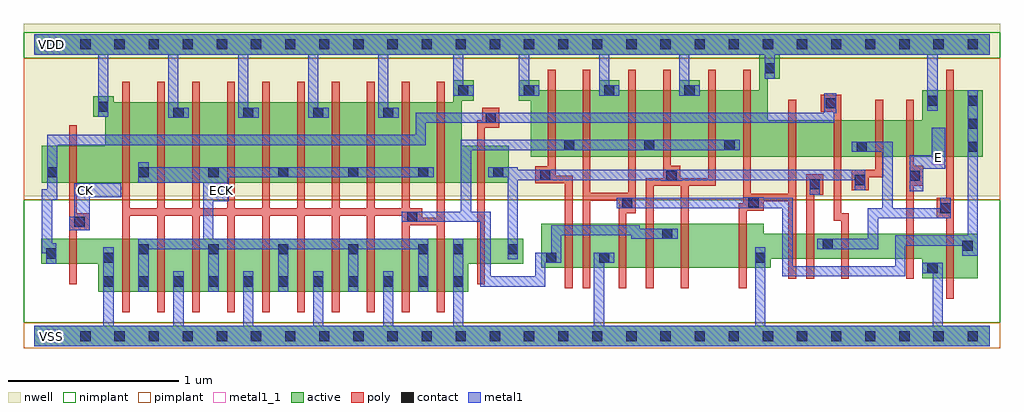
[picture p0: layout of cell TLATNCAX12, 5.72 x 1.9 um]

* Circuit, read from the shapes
.subckt TLATNCAX12 CK E ECK VDD VSS
M1 VSS CK n1 VSS nfet w=0.145u l=0.045u
M2 ECK n2 VSS VSS nfet w=0.31u l=0.045u m=10
M3 n3 n1 VSS VSS nfet w=0.145u l=0.045u
M4 n4 n3 n2 VSS nfet w=0.26u l=0.045u
M5 VSS n5 n4 VSS nfet w=0.26u l=0.045u
M6 n6 n5 VSS VSS nfet w=0.26u l=0.045u
M7 n2 n3 n6 VSS nfet w=0.26u l=0.045u
M8 n7 n3 n2 VSS nfet w=0.26u l=0.045u
M9 VSS n5 n7 VSS nfet w=0.26u l=0.045u
M10 n8 n5 VSS VSS nfet w=0.145u l=0.045u
M11 n9 n3 n8 VSS nfet w=0.145u l=0.045u
M12 n10 n1 n9 VSS nfet w=0.145u l=0.045u
M13 VSS E n10 VSS nfet w=0.145u l=0.045u
M14 n5 n9 VSS VSS nfet w=0.26u l=0.045u
M15 VDD CK n1 VDD pfet w=0.215u l=0.045u
M16 ECK n2 VDD VDD pfet w=0.47u l=0.045u m=10
M17 n3 n1 VDD VDD pfet w=0.215u l=0.045u
M18 n2 n3 VDD VDD pfet w=0.39u l=0.045u m=3
M19 VDD n5 n2 VDD pfet w=0.39u l=0.045u m=3
M20 n11 n5 VDD VDD pfet w=0.215u l=0.045u
M21 n9 n1 n11 VDD pfet w=0.215u l=0.045u
M22 n12 n3 n9 VDD pfet w=0.215u l=0.045u
M23 VDD E n12 VDD pfet w=0.215u l=0.045u
M24 n5 n9 VDD VDD pfet w=0.39u l=0.045u
.ends

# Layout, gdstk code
import gdstk
lib = gdstk.Library(unit=1e-6, precision=5e-10)
def R(c, l, rs):  # rectangles x0, y0, x1, y1
    for r in rs: c.add(gdstk.rectangle(r[:2], r[2:], *l))
def A(c, l, x, y, w, h, nx, ny, dx, dy):  # array of equal rectangles
    R(c, l, [(x+i*dx, y+j*dy, x+i*dx+w, y+j*dy+h) for i in range(nx) for j in range(ny)])
def P(c, l, *ps):  # polygons
    for p in ps: c.add(gdstk.Polygon(p, *l))
active = (1, 0)
nwell = (2, 0)
poly = (3, 0)
nimplant = (4, 0)
pimplant = (5, 0)
contact = (6, 0)
metal1 = (7, 0)
metal1_1 = (7, 1)

tlatncax12 = lib.new_cell('TLATNCAX12')
R(tlatncax12, active, [(0,-0.06,5.6,0.06)])
P(tlatncax12, active, [(0,1.77),(5.6,1.77),(5.6,1.65),(4.37,1.65),(4.37,1.51),(4.3,1.51),(4.3,1.265),(5.205,1.265),(5.205,1.44),(5.56,1.44),(5.56,1.05),(2.91,1.05),(2.91,1.38),(2.84,1.38),(2.84,1.5),(2.96,1.5),(2.96,1.44),(3.31,1.44),(3.31,1.5),(3.43,1.5),(3.43,1.44),(3.78,1.44),(3.78,1.5),(3.9,1.5),(3.9,1.44),(4.25,1.44),(4.25,1.65),(0,1.65)],
  [(0.345,1.405),(0.465,1.405),(0.465,1.37),(2.455,1.37),(2.455,1.5),(2.575,1.5),(2.575,1.38),(2.505,1.38),(2.505,1.115),(2.78,1.115),(2.78,0.9),(0.045,0.9),(0.045,1.115),(0.415,1.115),(0.415,1.285),(0.345,1.285)],
  [(0.04,0.57),(2.865,0.57),(2.865,0.425),(2.545,0.425),(2.545,0.26),(0.375,0.26),(0.375,0.425),(0.04,0.425)],
  [(2.97,0.66),(4.275,0.66),(4.275,0.6),(5.53,0.6),(5.53,0.34),(5.205,0.34),(5.205,0.455),(4.315,0.455),(4.315,0.4),(2.97,0.4)])
R(tlatncax12, nwell, [(-0.06,0.82,5.66,1.83)])
P(tlatncax12, poly, [(0.515,1.49),(0.56,1.49),(0.56,0.75),(0.72,0.75),(0.72,1.49),(0.765,1.49),(0.765,0.75),(0.925,0.75),(0.925,1.49),(0.97,1.49),(0.97,0.75),(1.13,0.75),(1.13,1.49),(1.175,1.49),(1.175,0.75),(1.335,0.75),(1.335,1.49),(1.38,1.49),(1.38,0.75),(1.54,0.75),(1.54,1.49),(1.585,1.49),(1.585,0.75),(1.745,0.75),(1.745,1.49),(1.79,1.49),(1.79,0.75),(1.95,0.75),(1.95,1.49),(1.995,1.49),(1.995,0.75),(2.155,0.75),(2.155,1.49),(2.2,1.49),(2.2,0.75),(2.275,0.75),(2.275,0.695),(2.36,0.695),(2.36,1.49),(2.405,1.49),(2.405,0.14),(2.36,0.14),(2.36,0.65),(2.2,0.65),(2.2,0.14),(2.155,0.14),(2.155,0.705),(1.995,0.705),(1.995,0.14),(1.95,0.14),(1.95,0.705),(1.79,0.705),(1.79,0.14),(1.745,0.14),(1.745,0.705),(1.585,0.705),(1.585,0.14),(1.54,0.14),(1.54,0.705),(1.38,0.705),(1.38,0.14),(1.335,0.14),(1.335,0.705),(1.175,0.705),(1.175,0.14),(1.13,0.14),(1.13,0.705),(0.97,0.705),(0.97,0.14),(0.925,0.14),(0.925,0.705),(0.765,0.705),(0.765,0.14),(0.72,0.14),(0.72,0.705),(0.56,0.705),(0.56,0.14),(0.515,0.14)],
  [(0.205,1.235),(0.25,1.235),(0.25,0.72),(0.325,0.72),(0.325,0.62),(0.25,0.62),(0.25,0.305),(0.205,0.305)],
  [(3.01,1.56),(3.055,1.56),(3.055,0.94),(3.155,0.94),(3.155,0.28),(3.11,0.28),(3.11,0.895),(2.935,0.895),(2.935,0.995),(3.01,0.995)],
  [(3.215,1.56),(3.26,1.56),(3.26,0.84),(3.48,0.84),(3.48,1.56),(3.525,1.56),(3.525,0.72),(3.47,0.72),(3.47,0.28),(3.425,0.28),(3.425,0.795),(3.26,0.795),(3.26,0.28),(3.215,0.28)],
  [(2.625,1.34),(2.725,1.34),(2.725,1.22),(2.64,1.22),(2.64,0.305),(2.595,0.305),(2.595,1.265),(2.625,1.265)],
  [(3.685,1.56),(3.73,1.56),(3.73,1),(3.785,1),(3.785,0.925),(3.95,0.925),(3.95,1.56),(3.995,1.56),(3.995,0.88),(3.835,0.88),(3.835,0.28),(3.79,0.28),(3.79,0.88),(3.63,0.88),(3.63,0.28),(3.585,0.28),(3.585,0.925),(3.685,0.925)],
  [(4.155,1.56),(4.2,1.56),(4.2,0.835),(4.42,0.835),(4.42,1.385),(4.465,1.385),(4.465,0.335),(4.42,0.335),(4.42,0.79),(4.275,0.79),(4.275,0.735),(4.175,0.735),(4.175,0.28),(4.13,0.28),(4.13,0.78),(4.155,0.78)],
  [(4.61,1.415),(4.73,1.415),(4.73,0.72),(4.775,0.72),(4.775,0.335),(4.73,0.335),(4.73,0.675),(4.685,0.675),(4.685,1.315),(4.61,1.315)],
  [(5.345,1.56),(5.39,1.56),(5.39,0.22),(5.345,0.22),(5.345,0.69),(5.29,0.69),(5.29,0.81),(5.345,0.81)],
  [(4.93,1.385),(4.975,1.385),(4.975,0.93),(4.89,0.93),(4.89,0.855),(4.79,0.855),(4.79,0.975),(4.93,0.975)],
  [(5.11,1.385),(5.155,1.385),(5.155,1),(5.21,1),(5.21,0.88),(5.155,0.88),(5.155,0.335),(5.11,0.335)],
  [(4.525,0.95),(4.625,0.95),(4.625,0.83),(4.57,0.83),(4.57,0.335),(4.525,0.335)])
R(tlatncax12, nimplant, [(-0.06,0.08,5.66,0.8), (-0.06,1.63,5.66,1.78)])
R(tlatncax12, pimplant, [(-0.06,-0.07,5.66,0.08), (-0.06,0.8,5.66,1.63)])
A(tlatncax12, contact, 0.07, -0.03, 0.06, 0.06, 28, 2, 0.2, 1.71)
A(tlatncax12, contact, 0.405, 0.29, 0.06, 0.06, 11, 1, 0.205, 0)
A(tlatncax12, contact, 0.61, 0.48, 0.06, 0.06, 5, 2, 0.41, 0.45)
A(tlatncax12, contact, 5.47, 1.08, 0.06, 0.06, 1, 3, 0, 0.135)
A(tlatncax12, contact, 3.105, 1.09, 0.06, 0.06, 3, 1, 0.47, 0)
A(tlatncax12, contact, 0.815, 1.28, 0.06, 0.06, 4, 1, 0.41, 0)
A(tlatncax12, contact, 2.87, 1.41, 0.06, 0.06, 3, 1, 0.47, 0)
R(tlatncax12, contact, [(5.235,0.37,5.295,0.43), (0.405,0.43,0.465,0.49), (3,0.43,3.06,0.49), (3.31,0.43,3.37,0.49), (4.225,0.43,4.285,0.49), (0.07,0.455,0.13,0.515), (2.455,0.48,2.515,0.54), (2.775,0.48,2.835,0.54), (5.44,0.5,5.5,0.56), (4.62,0.51,4.68,0.57), (3.68,0.57,3.74,0.63), (0.235,0.64,0.295,0.7), (2.185,0.67,2.245,0.73), (5.31,0.72,5.37,0.78), (3.445,0.75,3.505,0.81), (4.185,0.755,4.245,0.815), (4.545,0.86,4.605,0.92), (4.81,0.885,4.87,0.945), (3.705,0.91,3.765,0.97), (5.13,0.91,5.19,0.97), (2.965,0.915,3.025,0.975), (0.075,0.93,0.135,0.99), (2.69,0.93,2.75,0.99), (4.82,1.08,4.88,1.14), (2.645,1.25,2.705,1.31), (0.375,1.315,0.435,1.375), (4.64,1.335,4.7,1.395), (5.235,1.35,5.295,1.41), (2.485,1.41,2.545,1.47), (4.28,1.54,4.34,1.6)])
P(tlatncax12, metal1, [(0,1.77),(5.6,1.77),(5.6,1.65),(5.295,1.65),(5.295,1.32),(5.235,1.32),(5.235,1.65),(4.34,1.65),(4.34,1.51),(4.28,1.51),(4.28,1.65),(3.84,1.65),(3.84,1.47),(3.9,1.47),(3.9,1.41),(3.78,1.41),(3.78,1.65),(3.37,1.65),(3.37,1.47),(3.43,1.47),(3.43,1.41),(3.31,1.41),(3.31,1.65),(2.9,1.65),(2.9,1.47),(2.96,1.47),(2.96,1.41),(2.84,1.41),(2.84,1.65),(2.515,1.65),(2.515,1.47),(2.575,1.47),(2.575,1.41),(2.455,1.41),(2.455,1.65),(2.075,1.65),(2.075,1.34),(2.135,1.34),(2.135,1.28),(2.015,1.28),(2.015,1.65),(1.665,1.65),(1.665,1.34),(1.725,1.34),(1.725,1.28),(1.605,1.28),(1.605,1.65),(1.255,1.65),(1.255,1.34),(1.315,1.34),(1.315,1.28),(1.195,1.28),(1.195,1.65),(0.845,1.65),(0.845,1.34),(0.905,1.34),(0.905,1.28),(0.785,1.28),(0.785,1.65),(0.435,1.65),(0.435,1.285),(0.375,1.285),(0.375,1.65),(0,1.65)],
  [(4.63,1.425),(4.7,1.425),(4.7,1.305),(4.69,1.305),(4.69,1.25),(2.295,1.25),(2.295,1.12),(0.135,1.12),(0.135,0.8),(0.105,0.8),(0.105,0.545),(0.13,0.545),(0.13,0.425),(0.07,0.425),(0.07,0.485),(0.045,0.485),(0.045,0.86),(0.075,0.86),(0.075,1.18),(2.235,1.18),(2.235,1.31),(4.63,1.31)],
  [(4.155,0.815),(4.275,0.815),(4.275,0.81),(4.445,0.81),(4.445,0.41),(5.045,0.41),(5.045,0.59),(5.47,0.59),(5.47,1.44),(5.53,1.44),(5.53,0.47),(5.44,0.47),(5.44,0.53),(5.105,0.53),(5.105,0.35),(4.385,0.35),(4.385,0.75),(3.415,0.75),(3.415,0.81),(4.155,0.81)],
  [(2.5,1.15),(4.135,1.15),(4.135,1.09),(2.56,1.09),(2.56,0.73),(2.675,0.73),(2.675,0.35),(2.935,0.35),(2.935,0.49),(3.03,0.49),(3.03,0.65),(3.55,0.65),(3.55,0.63),(3.77,0.63),(3.77,0.57),(3.5,0.57),(3.5,0.59),(3.09,0.59),(3.09,0.43),(2.995,0.43),(2.995,0.29),(2.615,0.29),(2.615,0.67),(2.155,0.67),(2.155,0.73),(2.5,0.73)],
  [(0.61,1.02),(0.67,1.02),(0.67,0.99),(2.34,0.99),(2.34,0.93),(1.14,0.93),(1.14,0.79),(1.05,0.79),(1.05,0.57),(2.31,0.57),(2.31,0.26),(2.25,0.26),(2.25,0.51),(1.9,0.51),(1.9,0.26),(1.84,0.26),(1.84,0.51),(1.49,0.51),(1.49,0.26),(1.43,0.26),(1.43,0.51),(1.08,0.51),(1.08,0.26),(1.02,0.26),(1.02,0.51),(0.67,0.51),(0.67,0.26),(0.61,0.26),(0.61,0.57),(0.99,0.57),(0.99,0.9),(0.61,0.9)],
  [(0.235,0.895),(0.51,0.895),(0.51,0.815),(0.325,0.815),(0.325,0.62),(0.205,0.62),(0.205,0.7),(0.235,0.7)],
  [(4.79,1.14),(5.03,1.14),(5.03,0.75),(5.31,0.75),(5.31,0.81),(5.37,0.81),(5.37,0.69),(4.945,0.69),(4.945,0.51),(4.59,0.51),(4.59,0.57),(4.885,0.57),(4.885,0.75),(4.97,0.75),(4.97,1.08),(4.79,1.08)],
  [(2.66,0.99),(2.835,0.99),(2.835,0.975),(4.87,0.975),(4.87,0.855),(4.81,0.855),(4.81,0.915),(4.605,0.915),(4.605,0.83),(4.545,0.83),(4.545,0.915),(3.795,0.915),(3.795,0.91),(3.675,0.91),(3.675,0.915),(2.835,0.915),(2.835,0.45),(2.775,0.45),(2.775,0.93),(2.66,0.93)],
  [(0.405,0.52),(0.465,0.52),(0.465,0.06),(0.815,0.06),(0.815,0.38),(0.875,0.38),(0.875,0.06),(1.225,0.06),(1.225,0.38),(1.285,0.38),(1.285,0.06),(1.635,0.06),(1.635,0.38),(1.695,0.38),(1.695,0.06),(2.045,0.06),(2.045,0.38),(2.105,0.38),(2.105,0.06),(2.455,0.06),(2.455,0.57),(2.515,0.57),(2.515,0.06),(3.28,0.06),(3.28,0.49),(3.4,0.49),(3.4,0.43),(3.34,0.43),(3.34,0.06),(4.225,0.06),(4.225,0.52),(4.285,0.52),(4.285,0.06),(5.265,0.06),(5.265,0.37),(5.205,0.37),(5.205,0.43),(5.325,0.43),(5.325,0.06),(5.6,0.06),(5.6,-0.06),(0,-0.06),(0,0.06),(0.405,0.06)],
  [(5.26,1.22),(5.34,1.22),(5.34,0.98),(5.21,0.98),(5.21,0.85),(5.13,0.85),(5.13,1.06),(5.26,1.06)])
R(tlatncax12, metal1_1, [(0.06,-0.04,0.14,0.04), (0.26,0.815,0.34,0.895), (1.06,0.815,1.14,0.895), (5.26,1.005,5.34,1.085), (0.06,1.67,0.14,1.75)])
tlatncax12.add(gdstk.Label('ECK', (1.1,0.855), layer=7, texttype=1))
tlatncax12.add(gdstk.Label('E', (5.3,1.045), layer=7, texttype=1))
tlatncax12.add(gdstk.Label('CK', (0.3,0.855), layer=7, texttype=1))
tlatncax12.add(gdstk.Label('VDD', (0.1,1.71), layer=7, texttype=1))
tlatncax12.add(gdstk.Label('VSS', (0.1,0), layer=7, texttype=1))
tlatncax12.add(gdstk.Label('TLATNCAX12', (0,0), layer=63, texttype=0))

lib.write_gds('TLATNCAX12.gds')
